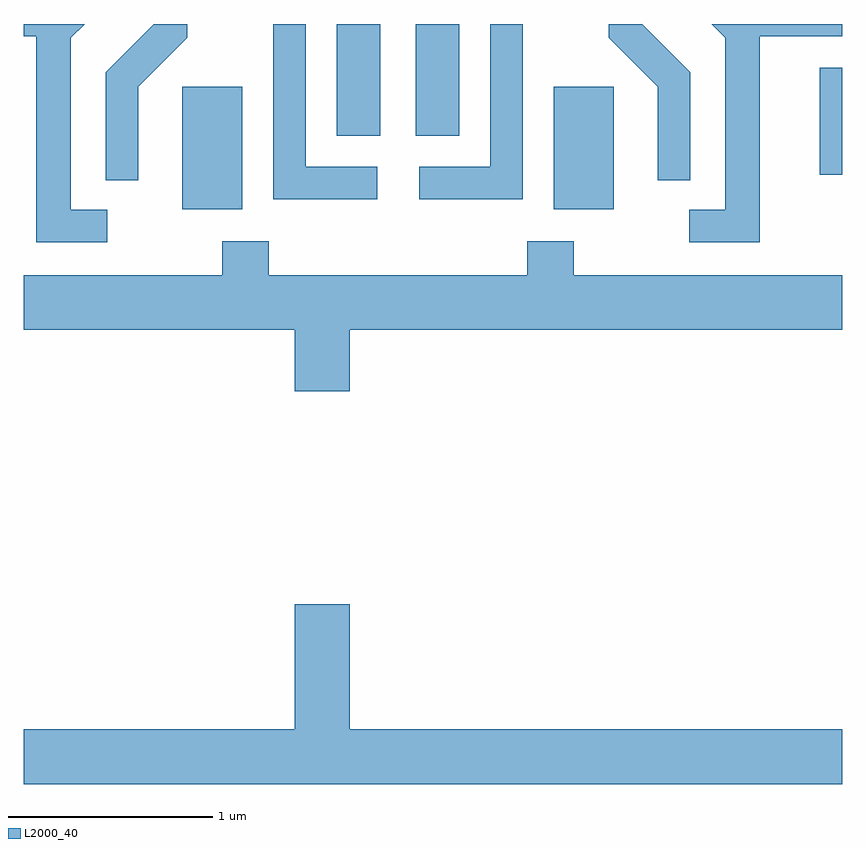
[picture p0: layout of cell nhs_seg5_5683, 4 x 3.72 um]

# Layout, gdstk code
import gdstk
lib = gdstk.Library(unit=1e-6, precision=1e-09)
def R(c, l, rs):  # rectangles x0, y0, x1, y1
    for r in rs: c.add(gdstk.rectangle(r[:2], r[2:], *l))
def P(c, l, *ps):  # polygons
    for p in ps: c.add(gdstk.Polygon(p, *l))
L2000_40 = (2000, 40)

nhs_seg5_5683 = lib.new_cell('nhs_seg5_5683')
R(nhs_seg5_5683, L2000_40, [(354.386,1455.166,354.679,1455.764), (356.201,1455.166,356.494,1455.764), (357.501,1455.336,357.611,1455.859), (355.141,1455.526,355.354,1456.072), (355.526,1455.526,355.739,1456.072)])
P(nhs_seg5_5683, L2000_40, [(356.049,1456.072),(355.891,1456.072),(355.891,1455.374),(355.543,1455.374),(355.543,1455.216),(356.049,1455.216)],
  [(356.869,1455.837),(356.634,1456.072),(356.471,1456.072),(356.471,1456.004),(356.711,1455.764),(356.711,1455.308),(356.869,1455.308)],
  [(357.209,1456.011),(357.611,1456.011),(357.611,1456.072),(356.973,1456.072),(357.041,1456.004),(357.041,1455.164),(356.863,1455.164),(356.863,1455.006),(357.209,1455.006)],
  [(354.018,1455.164),(353.839,1455.164),(353.839,1456.004),(353.908,1456.072),(353.611,1456.072),(353.611,1456.011),(353.671,1456.011),(353.671,1455.006),(354.018,1455.006)],
  [(354.169,1455.764),(354.409,1456.004),(354.409,1456.072),(354.246,1456.072),(354.011,1455.837),(354.011,1455.308),(354.169,1455.308)],
  [(355.338,1455.374),(354.989,1455.374),(354.989,1456.072),(354.831,1456.072),(354.831,1455.216),(355.338,1455.216)],
  [(354.581,1455.009),(354.581,1454.844),(353.611,1454.844),(353.611,1454.576),(354.936,1454.576),(354.936,1454.276),(355.204,1454.276),(355.204,1454.576),(357.611,1454.576),(357.611,1454.844),(356.299,1454.844),(356.299,1455.009),(356.071,1455.009),(356.071,1454.844),(354.809,1454.844),(354.809,1455.009)],
  [(357.611,1452.624),(355.204,1452.624),(355.204,1453.234),(354.936,1453.234),(354.936,1452.624),(353.611,1452.624),(353.611,1452.356),(357.611,1452.356)])

lib.write_gds('nhs_seg5_5683.gds')
